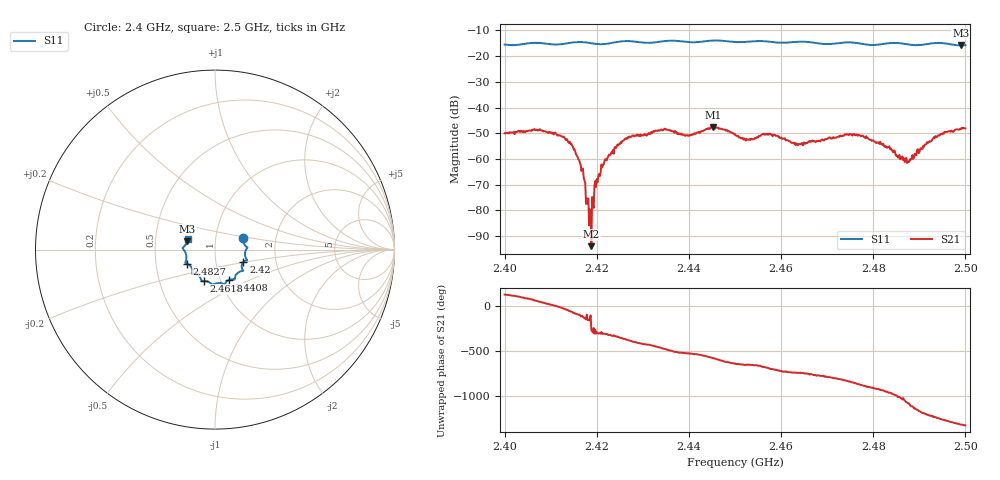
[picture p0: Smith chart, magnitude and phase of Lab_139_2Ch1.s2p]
# Hz S RI R 50
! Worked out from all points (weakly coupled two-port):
!   601 points, 2.4 GHz to 2.5 GHz, reference 50 ohm
!   highest |S21| = -47.61 dB at 2.4453 GHz (marker M1); lowest = -93.9 dB at 2.4188 GHz (marker M2)
!   lowest |S11| = -15.8 dB at 2.499 GHz (marker M3), VSWR 1.39, Z = 36.5 + j3.53 ohm
!   |S11| at or under -10 dB: start of sweep to end of sweep
!   S12 and S22 are empty: the file has one direction only
!   S11 on the Smith chart (normalised r, x): 2.4 GHz: 1.36, +0.17; 2.42 GHz: 1.36, -0.19; 2.4408 GHz: 1.10, -0.38; 2.4618 GHz: 0.84, -0.30; 2.4827 GHz: 0.72, -0.12; 2.5 GHz: 0.73, +0.09
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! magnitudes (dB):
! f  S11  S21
! 2.4 GHz  -15.5  -50.0
! 2.4123 GHz  -15.3  -51.2
! 2.4147 GHz  -14.7  -54.8
! 2.4167 GHz  -14.5  -64.6
! 2.4182 GHz  -14.8  -75.3
! 2.4188 GHz  -15.0  -93.9
! 2.42 GHz  -15.3  -67.8
! 2.4215 GHz  -15.3  -62.2
! 2.4257 GHz  -14.2  -52.9
! 2.4333 GHz  -14.5  -48.8
! 2.4408 GHz  -14.6  -50.4
! 2.4453 GHz  -13.9  -47.6
! 2.45 GHz  -14.5  -50.4
! 2.4618 GHz  -14.7  -53.1
! 2.4667 GHz  -14.7  -53.2
! 2.4753 GHz  -14.7  -50.4
! 2.4827 GHz  -15.1  -54.9
! 2.4833 GHz  -15.0  -55.3
! 2.4878 GHz  -15.5  -61.1
! 2.4937 GHz  -14.9  -51.5
! 2.499 GHz  -15.8  -48.4
! 2.5 GHz  -15.7  -48.1
